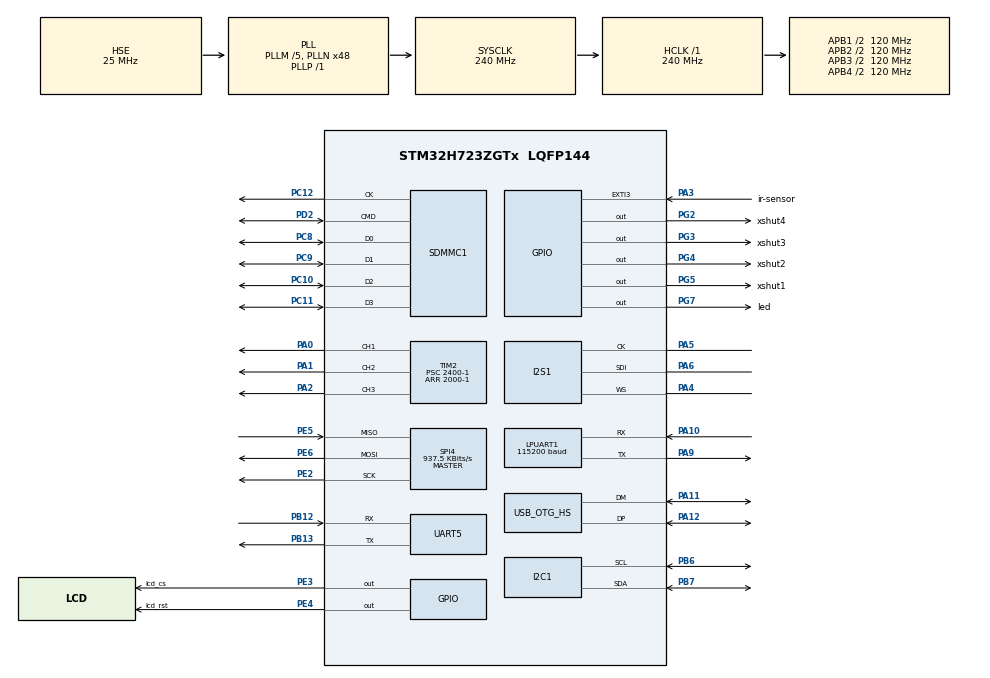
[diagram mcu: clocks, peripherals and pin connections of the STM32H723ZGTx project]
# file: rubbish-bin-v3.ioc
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CORTEX_M7.CPU_DCache=Enabled
CORTEX_M7.CPU_ICache=Enabled
Dma.Request0=SPI1_RX
Dma.SPI1_RX.0.Direction=DMA_PERIPH_TO_MEMORY
Dma.SPI1_RX.0.EventEnable=DISABLE
Dma.SPI1_RX.0.FIFOMode=DMA_FIFOMODE_DISABLE
Dma.SPI1_RX.0.Instance=DMA1_Stream0
Dma.SPI1_RX.0.MemDataAlignment=DMA_MDATAALIGN_HALFWORD
Dma.SPI1_RX.0.MemInc=DMA_MINC_ENABLE
Dma.SPI1_RX.0.Mode=DMA_CIRCULAR
Dma.SPI1_RX.0.PeriphDataAlignment=DMA_PDATAALIGN_HALFWORD
Dma.SPI1_RX.0.PeriphInc=DMA_PINC_DISABLE
Dma.SPI1_RX.0.Polarity=HAL_DMAMUX_REQ_GEN_RISING
Dma.SPI1_RX.0.Priority=DMA_PRIORITY_LOW
Dma.SPI1_RX.0.RequestNumber=1
Dma.SPI1_RX.0.SignalID=NONE
Dma.SPI1_RX.0.SyncEnable=DISABLE
Dma.SPI1_RX.0.SyncPolarity=HAL_DMAMUX_SYNC_NO_EVENT
Dma.SPI1_RX.0.SyncRequestNumber=1
Dma.SPI1_RX.0.SyncSignalID=NONE
FATFS._FS_LOCK=4
I2C1.Timing=0x307075B1
I2S1.AudioFreq=I2S_AUDIOFREQ_16K
I2S1.CPOL=I2S_CPOL_LOW
I2S1.DataFormat=I2S_DATAFORMAT_16B_EXTENDED
I2S1.ErrorAudioFreq=-0.35 %
I2S1.Instance=SPI$Index
I2S1.RealAudioFreq=15.943 KHz
LPUART1.BaudRate=115200
Mcu.Family=STM32H7
Mcu.Name=STM32H723ZGTx
Mcu.Package=LQFP144
NVIC.DMA1_Stream0_IRQn=true\:0\:0\:false\:false\:true\:false\:true\:true
NVIC.EXTI3_IRQn=true\:0\:0\:false\:false\:true\:true\:true\:true
NVIC.OTG_HS_IRQn=true\:0\:0\:false\:false\:true\:true\:true\:true
NVIC.PriorityGroup=NVIC_PRIORITYGROUP_4
PA0.Signal=S_TIM2_CH1_ETR
PA1.Signal=S_TIM2_CH2
PA10.Mode=Asynchronous
PA10.Signal=LPUART1_RX
PA11.Mode=Device_Only_FS
PA11.Signal=USB_OTG_HS_DM
PA12.Mode=Device_Only_FS
PA12.Signal=USB_OTG_HS_DP
PA2.Signal=S_TIM2_CH3
PA3.GPIO_Label=ir-sensor
PA3.Signal=GPXTI3
PA4.Mode=Half_Duplex_Master_Rx
PA4.Signal=I2S1_WS
PA5.Mode=Half_Duplex_Master_Rx
PA5.Signal=I2S1_CK
PA6.Mode=Half_Duplex_Master_Rx
PA6.Signal=I2S1_SDI
PA9.Mode=Asynchronous
PA9.Signal=LPUART1_TX
PB12.Mode=Asynchronous
PB12.Signal=UART5_RX
PB13.Mode=Asynchronous
PB13.Signal=UART5_TX
PB6.Mode=I2C
PB6.Signal=I2C1_SCL
PB7.Mode=I2C
PB7.Signal=I2C1_SDA
PC10.Mode=SD_4_bits_Wide_bus
PC10.Signal=SDMMC1_D2
PC11.Mode=SD_4_bits_Wide_bus
PC11.Signal=SDMMC1_D3
PC12.Mode=SD_4_bits_Wide_bus
PC12.Signal=SDMMC1_CK
PC14-OSC32_IN.Mode=LSE-External-Oscillator
PC14-OSC32_IN.Signal=RCC_OSC32_IN
PC15-OSC32_OUT.Mode=LSE-External-Oscillator
PC15-OSC32_OUT.Signal=RCC_OSC32_OUT
PC8.Mode=SD_4_bits_Wide_bus
PC8.Signal=SDMMC1_D0
PC9.Mode=SD_4_bits_Wide_bus
PC9.Signal=SDMMC1_D1
PD2.Mode=SD_4_bits_Wide_bus
PD2.Signal=SDMMC1_CMD
PE2.Mode=Full_Duplex_Master
PE2.Signal=SPI4_SCK
PE3.GPIO_Label=lcd_cs
PE3.Signal=GPIO_Output
PE4.GPIO_Label=lcd_rst
PE4.Signal=GPIO_Output
PE5.Mode=Full_Duplex_Master
PE5.Signal=SPI4_MISO
PE6.Mode=Full_Duplex_Master
PE6.Signal=SPI4_MOSI
PG2.GPIO_Label=xshut4
PG2.Signal=GPIO_Output
PG3.GPIO_Label=xshut3
PG3.Signal=GPIO_Output
PG4.GPIO_Label=xshut2
PG4.Signal=GPIO_Output
PG5.GPIO_Label=xshut1
PG5.Signal=GPIO_Output
PG7.GPIO_Label=led
PG7.Signal=GPIO_Output
PH0-OSC_IN.Mode=HSE-External-Oscillator
PH0-OSC_IN.Signal=RCC_OSC_IN
PH1-OSC_OUT.Mode=HSE-External-Oscillator
PH1-OSC_OUT.Signal=RCC_OSC_OUT
ProjectManager.HeapSize=0x2000
ProjectManager.StackSize=0x4000
ProjectManager.TargetToolchain=STM32CubeIDE
RCC.ADCFreq_Value=100000000
RCC.APB1Freq_Value=120000000
RCC.APB2Freq_Value=120000000
RCC.APB3Freq_Value=120000000
RCC.APB4Freq_Value=120000000
RCC.CortexFreq_Value=240000000
RCC.D1PPRE=RCC_APB3_DIV2
RCC.D2PPRE1=RCC_APB1_DIV2
RCC.D2PPRE2=RCC_APB2_DIV2
RCC.D3PPRE=RCC_APB4_DIV2
RCC.DIVM1=5
RCC.DIVM2=2
RCC.DIVN1=48
RCC.DIVN2=16
RCC.DIVP1=1
RCC.DIVQ1=5
RCC.HCLKFreq_Value=240000000
RCC.PLL2FRACN=0
RCC.PLL3FRACN=0
RCC.PLLFRACN=0
RCC.SPI123CLockSelection=RCC_SPI123CLKSOURCE_PLL2
RCC.SYSCLKFreq_VALUE=240000000
RCC.SYSCLKSource=RCC_SYSCLKSOURCE_PLLCLK
RCC.USBFreq_Value=48000000
SDMMC1.ClockDiv=10
SH.S_TIM2_CH1_ETR.0=TIM2_CH1,PWM Generation1 CH1
SH.S_TIM2_CH2.0=TIM2_CH2,PWM Generation2 CH2
SH.S_TIM2_CH3.0=TIM2_CH3,PWM Generation3 CH3
SPI4.BaudRatePrescaler=SPI_BAUDRATEPRESCALER_128
SPI4.CalculateBaudRate=937.5 KBits/s
SPI4.DataSize=SPI_DATASIZE_8BIT
SPI4.Direction=SPI_DIRECTION_2LINES
SPI4.Mode=SPI_MODE_MASTER
SPI4.VirtualType=VM_MASTER
STMicroelectronics.X-CUBE-AI.10.0.0.ActivationBufferSizeList=47688
STMicroelectronics.X-CUBE-AI.10.0.0.ActivationBuffers=pool0
STMicroelectronics.X-CUBE-AI.10.0.0.ActivationNames=pool0
STMicroelectronics.X-CUBE-AI.10.0.0.ActivationSizes=AI_MATERIALS_MODEL_DATA_ACTIVATION_1_SIZE
STMicroelectronics.X-CUBE-AI.10.0.0.HeapSize=0x2000
STMicroelectronics.X-CUBE-AI.10.0.0.InternalRamActivationBufferMaxSize=AI_MATERIALS_MODEL_DATA_ACTIVATIONS_SIZE
STMicroelectronics.X-CUBE-AI.10.0.0.LatestDirectoryUsed-4e3dbf2410ad9440bed7e7d11b9a8eda33466a71bca3eea4ea6297b3c3dd8950=C\:\\Users\\lapchong\\Downloads\\audio\\useable\\smart_waste_bin_data_samples
STMicroelectronics.X-CUBE-AI.10.0.0.MaximumNumberOfInputLayer=1
STMicroelectronics.X-CUBE-AI.10.0.0.MaximumNumberOfOutputLayer=1
STMicroelectronics.X-CUBE-AI.10.0.0.MaximumSizeOfInputLayer=1
STMicroelectronics.X-CUBE-AI.10.0.0.MaximumSizeOfOutputLayer=1
STMicroelectronics.X-CUBE-AI.10.0.0.ModelActualCompression-4e3dbf2410ad9440bed7e7d11b9a8eda33466a71bca3eea4ea6297b3c3dd8950=0.0
STMicroelectronics.X-CUBE-AI.10.0.0.ModelCompression-4e3dbf2410ad9440bed7e7d11b9a8eda33466a71bca3eea4ea6297b3c3dd8950=None
STMicroelectronics.X-CUBE-AI.10.0.0.ModelFlashOccupation-4e3dbf2410ad9440bed7e7d11b9a8eda33466a71bca3eea4ea6297b3c3dd8950=129824
STMicroelectronics.X-CUBE-AI.10.0.0.ModelHashList=4e3dbf2410ad9440bed7e7d11b9a8eda33466a71bca3eea4ea6297b3c3dd8950
STMicroelectronics.X-CUBE-AI.10.0.0.ModelKind-4e3dbf2410ad9440bed7e7d11b9a8eda33466a71bca3eea4ea6297b3c3dd8950=TFLITE
STMicroelectronics.X-CUBE-AI.10.0.0.ModelMacc-4e3dbf2410ad9440bed7e7d11b9a8eda33466a71bca3eea4ea6297b3c3dd8950=1488048
STMicroelectronics.X-CUBE-AI.10.0.0.ModelName-4e3dbf2410ad9440bed7e7d11b9a8eda33466a71bca3eea4ea6297b3c3dd8950=materials_model
STMicroelectronics.X-CUBE-AI.10.0.0.ModelNameList=materials_model
STMicroelectronics.X-CUBE-AI.10.0.0.ModelRamOccupation-4e3dbf2410ad9440bed7e7d11b9a8eda33466a71bca3eea4ea6297b3c3dd8950=47688
STMicroelectronics.X-CUBE-AI.10.0.0.ModelStructureFile-4e3dbf2410ad9440bed7e7d11b9a8eda33466a71bca3eea4ea6297b3c3dd8950=C\:\\Users\\lapchong\\Downloads\\audio\\useable\\smart_waste_bin_data_samples\\v7_v3_48_conv2d_model.tflite
STMicroelectronics.X-CUBE-AI.10.0.0.ModelType-4e3dbf2410ad9440bed7e7d11b9a8eda33466a71bca3eea4ea6297b3c3dd8950=STM32Cube.AI MCU runtime
STMicroelectronics.X-CUBE-AI.10.0.0.ReadyForCodeGeneration=true
STMicroelectronics.X-CUBE-AI.10.0.0.StackSize=0x4000
STMicroelectronics.X-CUBE-AI.10.0.0.WorkingBufferStartAddrList=0xFFFFFFFF
STMicroelectronics.X-CUBE-AI.10.0.0.XAaCUBEAaAICcArtificialOoIntelligenceJjCore=true
STMicroelectronics.X-CUBE-AI.10.0.0.copyWeightToRam=false
STMicroelectronics.X-CUBE-AI.10.0.0.copyWeightToRam-4e3dbf2410ad9440bed7e7d11b9a8eda33466a71bca3eea4ea6297b3c3dd8950=false
STMicroelectronics.X-CUBE-AI.10.0.0.customLayerConfigEnabled=false
STMicroelectronics.X-CUBE-AI.10.0.0.customLayerConfigEnabled-4e3dbf2410ad9440bed7e7d11b9a8eda33466a71bca3eea4ea6297b3c3dd8950=false
STMicroelectronics.X-CUBE-AI.10.0.0.noOnnxIoTranspose=false
STMicroelectronics.X-CUBE-AI.10.0.0.noOnnxIoTranspose-4e3dbf2410ad9440bed7e7d11b9a8eda33466a71bca3eea4ea6297b3c3dd8950=false
STMicroelectronics.X-CUBE-AI.10.0.0.useInputAllocation=true
STMicroelectronics.X-CUBE-AI.10.0.0.useInputAllocation-4e3dbf2410ad9440bed7e7d11b9a8eda33466a71bca3eea4ea6297b3c3dd8950=true
STMicroelectronics.X-CUBE-AI.10.0.0.useOutputAllocation=true
STMicroelectronics.X-CUBE-AI.10.0.0.useOutputAllocation-4e3dbf2410ad9440bed7e7d11b9a8eda33466a71bca3eea4ea6297b3c3dd8950=true
TIM2.Channel-PWM\ Generation1\ CH1=TIM_CHANNEL_1
TIM2.Channel-PWM\ Generation2\ CH2=TIM_CHANNEL_2
TIM2.Channel-PWM\ Generation3\ CH3=TIM_CHANNEL_3
TIM2.Period=2000-1
TIM2.Prescaler=2400-1
USB_OTG_HS.VirtualMode-Device_Only_FS=Device_Only_FS
VP_FATFS_VS_SDIO.Mode=SDIO
VP_MEMORYMAP_VS_MEMORYMAP.Mode=CurAppReg
VP_STMicroelectronics.X-CUBE-AI_VS_ArtificialOoIntelligenceJjXAaCUBEAaAI_10.0.0.Mode=ArtificialOoIntelligenceJjXAaCUBEAaAI
VP_TIM2_VS_ClockSourceINT.Mode=Internal
board=custom

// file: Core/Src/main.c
/* USER CODE BEGIN Header */
/**
  ******************************************************************************
  * @file           : main.c
  * @brief          : Main program body
  ******************************************************************************
  * @attention
  *
  * Copyright (c) 2025 STMicroelectronics.
  * All rights reserved.
  *
  * This software is licensed under terms that can be found in the LICENSE file
  * in the root directory of this software component.
  * If no LICENSE file comes with this software, it is provided AS-IS.
  *
  ******************************************************************************
  */
/* USER CODE END Header */
#include "main.h"
#include "fatfs.h"

/* USER CODE BEGIN Includes */
#include "esp32.h"
#include "mic.h"
#include "my_print.h"
#include "servo.h"
#include "st7920.h"
#include "vl53l0x.h"
#include "arm_math.h"
#include "arm_const_structs.h"
//#include "nnom.h"
#include "nn_process.h"
#include "mfcc_q15.h"

/* USER CODE END Includes */

I2C_HandleTypeDef hi2c1;

I2S_HandleTypeDef hi2s1;
DMA_HandleTypeDef hdma_spi1_rx;

UART_HandleTypeDef hlpuart1;
UART_HandleTypeDef huart5;

SD_HandleTypeDef hsd1;

SPI_HandleTypeDef hspi4;

TIM_HandleTypeDef htim2;

PCD_HandleTypeDef hpcd_USB_OTG_HS;

void SystemClock_Config(void);
static void MX_GPIO_Init(void);
static void MX_DMA_Init(void);
static void MX_I2C1_Init(void);
static void MX_SPI4_Init(void);
static void MX_TIM2_Init(void);
static void MX_SDMMC1_SD_Init(void);
static void MX_I2S1_Init(void);
static void MX_UART5_Init(void);
static void MX_LPUART1_UART_Init(void);
static void MX_USB_OTG_HS_PCD_Init(void);

/* USER CODE BEGIN 0 */
int _write(int file, char *data, int len)
{
  HAL_UART_Transmit(&hlpuart1, (uint8_t *)data, len, HAL_MAX_DELAY);
  return len;
}

uint32_t last_exti_time = 0;
volatile uint8_t recording_lock = 0;

void HAL_GPIO_EXTI_Callback(uint16_t GPIO_Pin)
{
    if (GPIO_Pin == GPIO_PIN_3) {
        if (recording_lock) return; // ignore if still locked
        uint32_t now = HAL_GetTick();
        if (now - last_exti_time < 1100) return; // still within timeout
        last_exti_time = now;

        if (recording_state == READY) {
            recording_lock = 1;  // set lock
            recording_state = DO_RECORDING;
            my_printf("recording trigger accepted\r\n");
        } else {
            my_printf("not ready for recording\r\n");
        }
    }
}

/* USER CODE END 0 */

int main(void)
{

  /* Enable the CPU Cache */

  /* Enable I-Cache---------------------------------------------------------*/
  SCB_EnableICache();

  /* Enable D-Cache---------------------------------------------------------*/
  SCB_EnableDCache();

  /* MCU Configuration--------------------------------------------------------*/

  /* Reset of all peripherals, Initializes the Flash interface and the Systick. */
  HAL_Init();

  /* Configure the system clock */
  SystemClock_Config();

  /* Initialize all configured peripherals */
  MX_GPIO_Init();
  MX_DMA_Init();
  MX_I2C1_Init();
  MX_SPI4_Init();
  MX_TIM2_Init();
  MX_SDMMC1_SD_Init();
  MX_I2S1_Init();
  MX_UART5_Init();
  MX_FATFS_Init();
  MX_LPUART1_UART_Init();
  MX_USB_OTG_HS_PCD_Init();
  /* USER CODE BEGIN 2 */
  my_printf("test print\r\n");

  HAL_TIM_PWM_Start(&htim2, TIM_CHANNEL_1);
  HAL_TIM_PWM_Start(&htim2, TIM_CHANNEL_2);

  HAL_Delay(500);
  //flush_buffer();

  mfcc_q15_init();

  st7920_init();
  st7920_clear();
  st7920_print(1, 1, "sd card mount failed");
  st7920_sendBuffer();
  sd_init();
  st7920_clear();
  st7920_print(1, 1, "sd card mount success");
  st7920_sendBuffer();
  recording_state = READY; // READY as sd card success, can write data to it

  if(vl53l0x_init())
  {
	  my_printf("init vl53l0x success\r\n");
	  st7920_print(1, 9, "vl53l0x init success");
  } else {
	  my_printf("init vl53l0x failed\r\n");
	  st7920_print(1, 9, "vl53l0x init failed");
  }
  my_printf("finish setup\r\n");
  st7920_print(1, 17, "waiting for exti");
  st7920_sendBuffer();

  servo360_init();
  set_servo_speed(150);

  aiInit();
  test_ai_correctness();

  my_printf("finish setup\r\n");
  st7920_print(1, 17, "waiting for exti");
  st7920_sendBuffer();
  /* USER CODE END 2 */

  /* Infinite loop */
  /* USER CODE BEGIN WHILE */
  while (1)
  {
	  if (recording_state == DO_RECORDING) {
		recording_state = RECORDING;
		my_printf("recording started from exti\r\n");
		st7920_clear();
		st7920_print(1, 17, "record start");
		st7920_sendBuffer();
		int num_of_file = record_and_convert();
		char tx_buffer[30];
		sprintf(tx_buffer, "record saved to %d", num_of_file);
		st7920_print(1, 25, tx_buffer);
		st7920_sendBuffer();
		print_mfcc_frame_final(mfcc_frame_final);
		do_inference();
		ai_show_result();
		recording_state = READY;
		recording_lock = 0; // allow next EXTI
	  }
    /* USER CODE END WHILE */

  }
}

void SystemClock_Config(void)
{
  RCC_OscInitTypeDef RCC_OscInitStruct = {0};
  RCC_ClkInitTypeDef RCC_ClkInitStruct = {0};

  /** Supply configuration update enable
  */
  HAL_PWREx_ConfigSupply(PWR_LDO_SUPPLY);

  /** Configure the main internal regulator output voltage
  */
  __HAL_PWR_VOLTAGESCALING_CONFIG(PWR_REGULATOR_VOLTAGE_SCALE0);

  while(!__HAL_PWR_GET_FLAG(PWR_FLAG_VOSRDY)) {}

  /** Initializes the RCC Oscillators according to the specified parameters
  * in the RCC_OscInitTypeDef structure.
  */
  RCC_OscInitStruct.OscillatorType = RCC_OSCILLATORTYPE_HSE;
  RCC_OscInitStruct.HSEState = RCC_HSE_ON;
  RCC_OscInitStruct.PLL.PLLState = RCC_PLL_ON;
  RCC_OscInitStruct.PLL.PLLSource = RCC_PLLSOURCE_HSE;
  RCC_OscInitStruct.PLL.PLLM = 5;
  RCC_OscInitStruct.PLL.PLLN = 48;
  RCC_OscInitStruct.PLL.PLLP = 1;
  RCC_OscInitStruct.PLL.PLLQ = 5;
  RCC_OscInitStruct.PLL.PLLR = 2;
  RCC_OscInitStruct.PLL.PLLRGE = RCC_PLL1VCIRANGE_2;
  RCC_OscInitStruct.PLL.PLLVCOSEL = RCC_PLL1VCOWIDE;
  RCC_OscInitStruct.PLL.PLLFRACN = 0;
  if (HAL_RCC_OscConfig(&RCC_OscInitStruct) != HAL_OK)
  {
    Error_Handler();
  }

  /** Initializes the CPU, AHB and APB buses clocks
  */
  RCC_ClkInitStruct.ClockType = RCC_CLOCKTYPE_HCLK|RCC_CLOCKTYPE_SYSCLK
                              |RCC_CLOCKTYPE_PCLK1|RCC_CLOCKTYPE_PCLK2
                              |RCC_CLOCKTYPE_D3PCLK1|RCC_CLOCKTYPE_D1PCLK1;
  RCC_ClkInitStruct.SYSCLKSource = RCC_SYSCLKSOURCE_PLLCLK;
  RCC_ClkInitStruct.SYSCLKDivider = RCC_SYSCLK_DIV1;
  RCC_ClkInitStruct.AHBCLKDivider = RCC_HCLK_DIV1;
  RCC_ClkInitStruct.APB3CLKDivider = RCC_APB3_DIV2;
  RCC_ClkInitStruct.APB1CLKDivider = RCC_APB1_DIV2;
  RCC_ClkInitStruct.APB2CLKDivider = RCC_APB2_DIV2;
  RCC_ClkInitStruct.APB4CLKDivider = RCC_APB4_DIV2;

  if (HAL_RCC_ClockConfig(&RCC_ClkInitStruct, FLASH_LATENCY_3) != HAL_OK)
  {
    Error_Handler();
  }
}

static void MX_I2C1_Init(void)
{

  hi2c1.Instance = I2C1;
  hi2c1.Init.Timing = 0x307075B1;
  hi2c1.Init.OwnAddress1 = 0;
  hi2c1.Init.AddressingMode = I2C_ADDRESSINGMODE_7BIT;
  hi2c1.Init.DualAddressMode = I2C_DUALADDRESS_DISABLE;
  hi2c1.Init.OwnAddress2 = 0;
  hi2c1.Init.OwnAddress2Masks = I2C_OA2_NOMASK;
  hi2c1.Init.GeneralCallMode = I2C_GENERALCALL_DISABLE;
  hi2c1.Init.NoStretchMode = I2C_NOSTRETCH_DISABLE;
  if (HAL_I2C_Init(&hi2c1) != HAL_OK)
  {
    Error_Handler();
  }

  /** Configure Analogue filter
  */
  if (HAL_I2CEx_ConfigAnalogFilter(&hi2c1, I2C_ANALOGFILTER_ENABLE) != HAL_OK)
  {
    Error_Handler();
  }

  /** Configure Digital filter
  */
  if (HAL_I2CEx_ConfigDigitalFilter(&hi2c1, 0) != HAL_OK)
  {
    Error_Handler();
  }

}

static void MX_I2S1_Init(void)
{

  hi2s1.Instance = SPI1;
  hi2s1.Init.Mode = I2S_MODE_MASTER_RX;
  hi2s1.Init.Standard = I2S_STANDARD_PHILIPS;
  hi2s1.Init.DataFormat = I2S_DATAFORMAT_16B_EXTENDED;
  hi2s1.Init.MCLKOutput = I2S_MCLKOUTPUT_DISABLE;
  hi2s1.Init.AudioFreq = I2S_AUDIOFREQ_16K;
  hi2s1.Init.CPOL = I2S_CPOL_LOW;
  hi2s1.Init.FirstBit = I2S_FIRSTBIT_MSB;
  hi2s1.Init.WSInversion = I2S_WS_INVERSION_DISABLE;
  hi2s1.Init.Data24BitAlignment = I2S_DATA_24BIT_ALIGNMENT_RIGHT;
  hi2s1.Init.MasterKeepIOState = I2S_MASTER_KEEP_IO_STATE_DISABLE;
  if (HAL_I2S_Init(&hi2s1) != HAL_OK)
  {
    Error_Handler();
  }

}

static void MX_LPUART1_UART_Init(void)
{

  hlpuart1.Instance = LPUART1;
  hlpuart1.Init.BaudRate = 115200;
  hlpuart1.Init.WordLength = UART_WORDLENGTH_8B;
  hlpuart1.Init.StopBits = UART_STOPBITS_1;
  hlpuart1.Init.Parity = UART_PARITY_NONE;
  hlpuart1.Init.Mode = UART_MODE_TX_RX;
  hlpuart1.Init.HwFlowCtl = UART_HWCONTROL_NONE;
  hlpuart1.Init.OneBitSampling = UART_ONE_BIT_SAMPLE_DISABLE;
  hlpuart1.Init.ClockPrescaler = UART_PRESCALER_DIV1;
  hlpuart1.AdvancedInit.AdvFeatureInit = UART_ADVFEATURE_NO_INIT;
  hlpuart1.FifoMode = UART_FIFOMODE_DISABLE;
  if (HAL_UART_Init(&hlpuart1) != HAL_OK)
  {
    Error_Handler();
  }
  if (HAL_UARTEx_SetTxFifoThreshold(&hlpuart1, UART_TXFIFO_THRESHOLD_1_8) != HAL_OK)
  {
    Error_Handler();
  }
  if (HAL_UARTEx_SetRxFifoThreshold(&hlpuart1, UART_RXFIFO_THRESHOLD_1_8) != HAL_OK)
  {
    Error_Handler();
  }
  if (HAL_UARTEx_DisableFifoMode(&hlpuart1) != HAL_OK)
  {
    Error_Handler();
  }

}

static void MX_UART5_Init(void)
{

  huart5.Instance = UART5;
  huart5.Init.BaudRate = 115200;
  huart5.Init.WordLength = UART_WORDLENGTH_8B;
  huart5.Init.StopBits = UART_STOPBITS_1;
  huart5.Init.Parity = UART_PARITY_NONE;
  huart5.Init.Mode = UART_MODE_TX_RX;
  huart5.Init.HwFlowCtl = UART_HWCONTROL_NONE;
  huart5.Init.OverSampling = UART_OVERSAMPLING_16;
  huart5.Init.OneBitSampling = UART_ONE_BIT_SAMPLE_DISABLE;
  huart5.Init.ClockPrescaler = UART_PRESCALER_DIV1;
  huart5.AdvancedInit.AdvFeatureInit = UART_ADVFEATURE_NO_INIT;
  if (HAL_UART_Init(&huart5) != HAL_OK)
  {
    Error_Handler();
  }
  if (HAL_UARTEx_SetTxFifoThreshold(&huart5, UART_TXFIFO_THRESHOLD_1_8) != HAL_OK)
  {
    Error_Handler();
  }
  if (HAL_UARTEx_SetRxFifoThreshold(&huart5, UART_RXFIFO_THRESHOLD_1_8) != HAL_OK)
  {
    Error_Handler();
  }
  if (HAL_UARTEx_DisableFifoMode(&huart5) != HAL_OK)
  {
    Error_Handler();
  }

}

static void MX_SDMMC1_SD_Init(void)
{

  hsd1.Instance = SDMMC1;
  hsd1.Init.ClockEdge = SDMMC_CLOCK_EDGE_RISING;
  hsd1.Init.ClockPowerSave = SDMMC_CLOCK_POWER_SAVE_DISABLE;
  hsd1.Init.BusWide = SDMMC_BUS_WIDE_4B;
  hsd1.Init.HardwareFlowControl = SDMMC_HARDWARE_FLOW_CONTROL_DISABLE;
  hsd1.Init.ClockDiv = 10;

}

static void MX_SPI4_Init(void)
{

  /* SPI4 parameter configuration*/
  hspi4.Instance = SPI4;
  hspi4.Init.Mode = SPI_MODE_MASTER;
  hspi4.Init.Direction = SPI_DIRECTION_2LINES;
  hspi4.Init.DataSize = SPI_DATASIZE_8BIT;
  hspi4.Init.CLKPolarity = SPI_POLARITY_LOW;
  hspi4.Init.CLKPhase = SPI_PHASE_1EDGE;
  hspi4.Init.NSS = SPI_NSS_SOFT;
  hspi4.Init.BaudRatePrescaler = SPI_BAUDRATEPRESCALER_128;
  hspi4.Init.FirstBit = SPI_FIRSTBIT_MSB;
  hspi4.Init.TIMode = SPI_TIMODE_DISABLE;
  hspi4.Init.CRCCalculation = SPI_CRCCALCULATION_DISABLE;
  hspi4.Init.CRCPolynomial = 0x0;
  hspi4.Init.NSSPMode = SPI_NSS_PULSE_ENABLE;
  hspi4.Init.NSSPolarity = SPI_NSS_POLARITY_LOW;
  hspi4.Init.FifoThreshold = SPI_FIFO_THRESHOLD_01DATA;
  hspi4.Init.TxCRCInitializationPattern = SPI_CRC_INITIALIZATION_ALL_ZERO_PATTERN;
  hspi4.Init.RxCRCInitializationPattern = SPI_CRC_INITIALIZATION_ALL_ZERO_PATTERN;
  hspi4.Init.MasterSSIdleness = SPI_MASTER_SS_IDLENESS_00CYCLE;
  hspi4.Init.MasterInterDataIdleness = SPI_MASTER_INTERDATA_IDLENESS_00CYCLE;
  hspi4.Init.MasterReceiverAutoSusp = SPI_MASTER_RX_AUTOSUSP_DISABLE;
  hspi4.Init.MasterKeepIOState = SPI_MASTER_KEEP_IO_STATE_DISABLE;
  hspi4.Init.IOSwap = SPI_IO_SWAP_DISABLE;
  if (HAL_SPI_Init(&hspi4) != HAL_OK)
  {
    Error_Handler();
  }

}

static void MX_TIM2_Init(void)
{

  TIM_ClockConfigTypeDef sClockSourceConfig = {0};
  TIM_MasterConfigTypeDef sMasterConfig = {0};
  TIM_OC_InitTypeDef sConfigOC = {0};

  htim2.Instance = TIM2;
  htim2.Init.Prescaler = 2400-1;
  htim2.Init.CounterMode = TIM_COUNTERMODE_UP;
  htim2.Init.Period = 2000-1;
  htim2.Init.ClockDivision = TIM_CLOCKDIVISION_DIV1;
  htim2.Init.AutoReloadPreload = TIM_AUTORELOAD_PRELOAD_DISABLE;
  if (HAL_TIM_Base_Init(&htim2) != HAL_OK)
  {
    Error_Handler();
  }
  sClockSourceConfig.ClockSource = TIM_CLOCKSOURCE_INTERNAL;
  if (HAL_TIM_ConfigClockSource(&htim2, &sClockSourceConfig) != HAL_OK)
  {
    Error_Handler();
  }
  if (HAL_TIM_PWM_Init(&htim2) != HAL_OK)
  {
    Error_Handler();
  }
  sMasterConfig.MasterOutputTrigger = TIM_TRGO_RESET;
  sMasterConfig.MasterSlaveMode = TIM_MASTERSLAVEMODE_DISABLE;
  if (HAL_TIMEx_MasterConfigSynchronization(&htim2, &sMasterConfig) != HAL_OK)
  {
    Error_Handler();
  }
  sConfigOC.OCMode = TIM_OCMODE_PWM1;
  sConfigOC.Pulse = 0;
  sConfigOC.OCPolarity = TIM_OCPOLARITY_HIGH;
  sConfigOC.OCFastMode = TIM_OCFAST_DISABLE;
  if (HAL_TIM_PWM_ConfigChannel(&htim2, &sConfigOC, TIM_CHANNEL_1) != HAL_OK)
  {
    Error_Handler();
  }
  if (HAL_TIM_PWM_ConfigChannel(&htim2, &sConfigOC, TIM_CHANNEL_2) != HAL_OK)
  {
    Error_Handler();
  }
  if (HAL_TIM_PWM_ConfigChannel(&htim2, &sConfigOC, TIM_CHANNEL_3) != HAL_OK)
  {
    Error_Handler();
  }
  HAL_TIM_MspPostInit(&htim2);

}

static void MX_USB_OTG_HS_PCD_Init(void)
{

  hpcd_USB_OTG_HS.Instance = USB_OTG_HS;
  hpcd_USB_OTG_HS.Init.dev_endpoints = 9;
  hpcd_USB_OTG_HS.Init.speed = PCD_SPEED_FULL;
  hpcd_USB_OTG_HS.Init.dma_enable = DISABLE;
  hpcd_USB_OTG_HS.Init.phy_itface = USB_OTG_EMBEDDED_PHY;
  hpcd_USB_OTG_HS.Init.Sof_enable = DISABLE;
  hpcd_USB_OTG_HS.Init.low_power_enable = DISABLE;
  hpcd_USB_OTG_HS.Init.lpm_enable = DISABLE;
  hpcd_USB_OTG_HS.Init.vbus_sensing_enable = DISABLE;
  hpcd_USB_OTG_HS.Init.use_dedicated_ep1 = DISABLE;
  hpcd_USB_OTG_HS.Init.use_external_vbus = DISABLE;
  if (HAL_PCD_Init(&hpcd_USB_OTG_HS) != HAL_OK)
  {
    Error_Handler();
  }

}

static void MX_DMA_Init(void)
{

  /* DMA controller clock enable */
  __HAL_RCC_DMA1_CLK_ENABLE();

  /* DMA interrupt init */
  /* DMA1_Stream0_IRQn interrupt configuration */
  HAL_NVIC_SetPriority(DMA1_Stream0_IRQn, 0, 0);
  HAL_NVIC_EnableIRQ(DMA1_Stream0_IRQn);

}

static void MX_GPIO_Init(void)
{
  GPIO_InitTypeDef GPIO_InitStruct = {0};

  /* GPIO Ports Clock Enable */
  __HAL_RCC_GPIOE_CLK_ENABLE();
  __HAL_RCC_GPIOC_CLK_ENABLE();
  __HAL_RCC_GPIOH_CLK_ENABLE();
  __HAL_RCC_GPIOA_CLK_ENABLE();
  __HAL_RCC_GPIOB_CLK_ENABLE();
  __HAL_RCC_GPIOG_CLK_ENABLE();
  __HAL_RCC_GPIOD_CLK_ENABLE();

  /*Configure GPIO pin Output Level */
  HAL_GPIO_WritePin(GPIOE, lcd_cs_Pin|lcd_rst_Pin, GPIO_PIN_RESET);

  /*Configure GPIO pin Output Level */
  HAL_GPIO_WritePin(GPIOG, xshut4_Pin|xshut3_Pin|xshut2_Pin|xshut1_Pin
                          |led_Pin, GPIO_PIN_RESET);

  /*Configure GPIO pins : lcd_cs_Pin lcd_rst_Pin */
  GPIO_InitStruct.Pin = lcd_cs_Pin|lcd_rst_Pin;
  GPIO_InitStruct.Mode = GPIO_MODE_OUTPUT_PP;
  GPIO_InitStruct.Pull = GPIO_NOPULL;
  GPIO_InitStruct.Speed = GPIO_SPEED_FREQ_LOW;
  HAL_GPIO_Init(GPIOE, &GPIO_InitStruct);

  /*Configure GPIO pin : ir_sensor_Pin */
  GPIO_InitStruct.Pin = ir_sensor_Pin;
  GPIO_InitStruct.Mode = GPIO_MODE_IT_RISING;
  GPIO_InitStruct.Pull = GPIO_NOPULL;
  HAL_GPIO_Init(ir_sensor_GPIO_Port, &GPIO_InitStruct);

  /*Configure GPIO pins : xshut4_Pin xshut3_Pin xshut2_Pin xshut1_Pin
                           led_Pin */
  GPIO_InitStruct.Pin = xshut4_Pin|xshut3_Pin|xshut2_Pin|xshut1_Pin
                          |led_Pin;
  GPIO_InitStruct.Mode = GPIO_MODE_OUTPUT_PP;
  GPIO_InitStruct.Pull = GPIO_NOPULL;
  GPIO_InitStruct.Speed = GPIO_SPEED_FREQ_LOW;
  HAL_GPIO_Init(GPIOG, &GPIO_InitStruct);

  /* EXTI interrupt init*/
  HAL_NVIC_SetPriority(ir_sensor_EXTI_IRQn, 0, 0);
  HAL_NVIC_EnableIRQ(ir_sensor_EXTI_IRQn);

}

void Error_Handler(void)
{
  __disable_irq();
  while (1)
  {
  }
}
